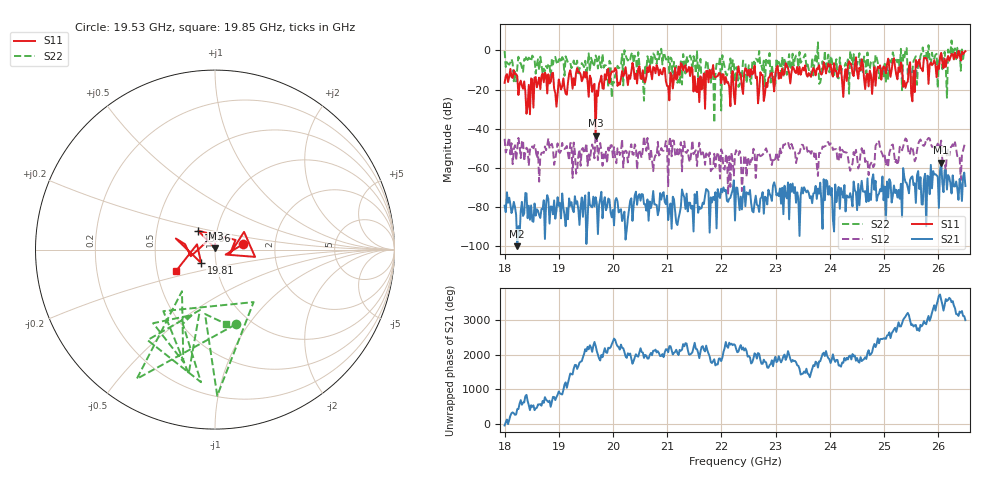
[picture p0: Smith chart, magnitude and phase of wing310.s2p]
!Keysight Technologies,N5242B,MY47200105,A.14.00.23
!Date: Friday, May 10, 2024 11:17:31
!Correction: S11(C  2-Port  )
!S21(C  2-Port  )
!S12(C  2-Port  )
!S22(C  2-Port  )
!S2P File: Measurement: :
# Hz S  RI  R 50
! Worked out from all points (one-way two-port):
!   401 points, 18 GHz to 26.5 GHz, reference 50 ohm
!   highest |S21| = -57.35 dB at 26.05 GHz (marker M1); lowest = -100.0 dB at 18.23 GHz (marker M2)
!   lowest |S11| = -43.6 dB at 19.68 GHz (marker M3), VSWR 1.01, Z = 50.2 + j0.618 ohm
!   |S11| at or under -10 dB: 18.11 GHz to 19.33 GHz (1.221 GHz wide, 6.52 % of centre); 19.35 GHz to 19.9 GHz (550.4 MHz wide, 2.8 % of centre); 21.86 GHz to 22.3 GHz (444.9 MHz wide, 2.02 % of centre) (the widest 3 of 57)
!   |S22| runs from -37.0 to 5.1 dB; largest |S21 - S12| = 0.007
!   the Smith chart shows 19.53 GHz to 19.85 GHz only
!   S11 on the Smith chart (normalised r, x): 19.53 GHz: 1.37, +0.09; 19.66 GHz: 0.81, +0.17; 19.81 GHz: 0.85, -0.13; 19.85 GHz: 0.63, -0.16
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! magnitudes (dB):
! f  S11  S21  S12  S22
! 18 GHz  -16.6  -79.3  -45.2  -0.3
! 18.23 GHz  -13.2  -100.0  -50.0  -8.9
! 18.43 GHz  -28.6  -85.7  -50.5  -4.9
! 18.72 GHz  -16.3  -76.6  -52.4  -9.3
! 19.42 GHz  -15.7  -75.1  -50.5  -6.5
! 19.53 GHz  -15.9  -87.6  -58.9  -7.3
! 19.66 GHz  -17.1  -79.7  -55.1  -6.9
! 19.68 GHz  -43.6  -75.0  -42.8  -2.6
! 19.81 GHz  -19.4  -85.8  -58.9  -1.8
! 19.85 GHz  -12.1  -75.0  -55.5  -7.6
! 20.38 GHz  -9.1  -79.4  -53.3  -6.5
! 20.55 GHz  -10.2  -73.6  -50.5  -13.8
! 20.85 GHz  -12.7  -81.6  -53.7  -4.5
! 21.23 GHz  -12.6  -83.1  -50.8  -17.4
! 21.4 GHz  -8.4  -77.8  -55.6  -4.2
! 21.85 GHz  -7.5  -74.9  -60.2  -8.9
! 22.25 GHz  -27.4  -86.9  -53.3  -16.0
! 23.67 GHz  -10.7  -78.1  -51.1  -3.9
! 25.1 GHz  -9.0  -65.8  -52.3  -6.2
! 25.52 GHz  -26.0  -64.3  -49.3  -10.0
! 26.05 GHz  -1.2  -57.3  -46.1  -0.6
! 26.5 GHz  -0.4  -69.3  -46.8  0.4
